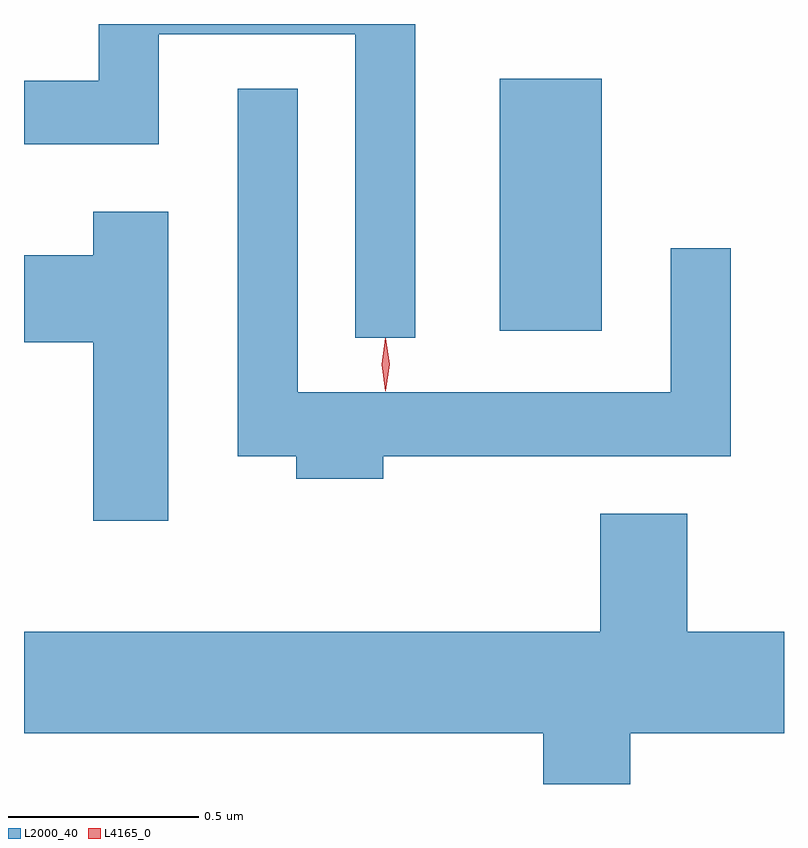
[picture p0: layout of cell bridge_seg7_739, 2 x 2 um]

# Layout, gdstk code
import gdstk
lib = gdstk.Library(unit=1e-6, precision=1e-09)
def R(c, l, rs):  # rectangles x0, y0, x1, y1
    for r in rs: c.add(gdstk.rectangle(r[:2], r[2:], *l))
def P(c, l, *ps):  # polygons
    for p in ps: c.add(gdstk.Polygon(p, *l))
L2000_40 = (2000, 40)
L4165_0 = (4165, 0)

bridge_seg7_739 = lib.new_cell('bridge_seg7_739')
R(bridge_seg7_739, L2000_40, [(563.426,1784.196,563.694,1784.859)])
P(bridge_seg7_739, L2000_40, [(563.204,1785.003),(562.371,1785.003),(562.371,1784.854),(562.174,1784.854),(562.174,1784.686),(562.529,1784.686),(562.529,1784.976),(563.046,1784.976),(563.046,1784.178),(563.204,1784.178)],
  [(563.119,1783.866),(564.034,1783.866),(564.034,1784.413),(563.876,1784.413),(563.876,1784.034),(562.894,1784.034),(562.894,1784.833),(562.736,1784.833),(562.736,1783.866),(562.891,1783.866),(562.891,1783.806),(563.119,1783.806)],
  [(562.554,1784.509),(562.356,1784.509),(562.356,1784.394),(562.174,1784.394),(562.174,1784.166),(562.356,1784.166),(562.356,1783.696),(562.554,1783.696)],
  [(563.769,1783.136),(564.174,1783.136),(564.174,1783.404),(563.919,1783.404),(563.919,1783.714),(563.691,1783.714),(563.691,1783.404),(562.174,1783.404),(562.174,1783.136),(563.541,1783.136),(563.541,1783.003),(563.769,1783.003)])
P(bridge_seg7_739, L4165_0, [(563.126,1784.037),(563.125,1784.038),(563.116,1784.107),(563.125,1784.176),(563.126,1784.176),(563.126,1784.176),(563.136,1784.107),(563.126,1784.038)],
  [(563.124,1784.04),(563.115,1784.106),(563.124,1784.172),(563.125,1784.173),(563.125,1784.172),(563.135,1784.106),(563.125,1784.04),(563.125,1784.04)])

lib.write_gds('bridge_seg7_739.gds')
